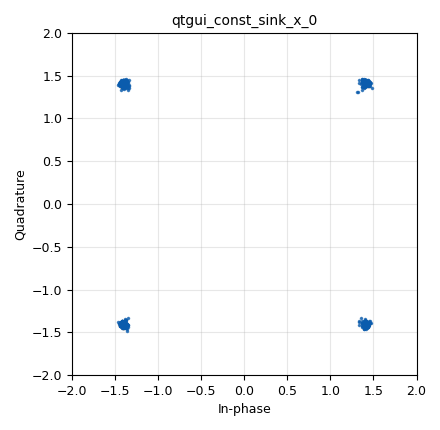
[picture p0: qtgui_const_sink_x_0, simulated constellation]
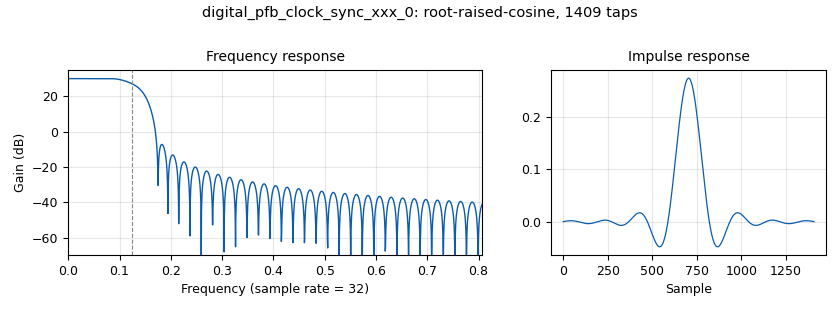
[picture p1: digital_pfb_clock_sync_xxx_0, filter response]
options:
  parameters:
    author: user
    generate_options: qt_gui
    id: mpsk_simulation
    output_language: python
    title: Not titled yet
  states: {}

blocks:
- name: arity
  id: variable
  parameters:
    value: '4'
  states: {}
- name: delay
  id: variable_qtgui_range
  parameters:
    gui_hint: 'delay_section@0: 0,0,1,1'
    label: Delay value
    rangeType: int
    start: '0'
    step: '1'
    stop: '500'
    value: '58'
  states: {}
- name: eq_gain
  id: variable_qtgui_range
  parameters:
    gui_hint: 'controls@1: 3,0,1,2'
    label: Equalizer rate
    start: '0.0'
    step: '0.001'
    stop: '0.1'
    value: '0.01'
  states: {}
- name: excess_bw
  id: variable
  parameters:
    value: '0.35'
  states: {}
- name: freq_offset
  id: variable_qtgui_range
  parameters:
    gui_hint: 'controls@1: 4,0,1,2'
    label: Frequency Offset
    start: '-0.1'
    step: '0.001'
    stop: '0.1'
    value: '0'
  states: {}
- name: nfilts
  id: variable
  parameters:
    value: '32'
  states: {}
- name: noise_volt
  id: variable_qtgui_range
  parameters:
    gui_hint: 'controls@0: 0,0,2,2'
    label: Noise Voltage
    start: '0'
    step: '0.1'
    stop: '1'
    value: '0'
  states: {}
- name: phase_bw
  id: variable_qtgui_range
  parameters:
    gui_hint: 'controls@1: 1,0,1,2'
    label: Phase  BW
    start: '0.0'
    step: '0.01'
    stop: '1.0'
    value: 6.28/100.0
  states: {}
- name: qpsk
  id: variable_constellation_rect
  parameters:
    const_points: '[0.707+0.707j, -0.707+0.707j, -0.707-0.707j, 0.707-0.707j]'
    imag_sect: '2'
    real_sect: '2'
    rot_sym: '4'
    sym_map: '[0, 1, 2, 3]'
    w_imag_sect: '1'
    w_real_sect: '1'
  states: {}
- name: restart
  id: variable_qtgui_toggle_switch
  parameters:
    gui_hint: 'measurement_control@0: 1,0,1,1'
    initPressed: 'False'
    label: Restart BER values
    position: '3'
    pressed: 'True'
    released: 'False'
    type: bool
    value: 'False'
  states: {}
- name: rrc_taps
  id: variable
  parameters:
    value: firdes.root_raised_cosine(nfilts, nfilts, 1.0/float(sps), 0.35, 11*sps*nfilts)
  states: {}
- name: samp_rate
  id: variable
  parameters:
    value: 1e6
  states: {}
- name: sps
  id: variable
  parameters:
    value: '4'
  states: {}
- name: switch
  id: variable_qtgui_toggle_switch
  parameters:
    gui_hint: 'measurement_control@0: 0,0,1,1'
    initPressed: 'False'
    label: BER block
    position: '3'
    pressed: 'True'
    released: 'False'
    type: bool
    value: 'False'
  states: {}
- name: taps
  id: variable
  parameters:
    value: '[1.0, 0.25-0.25j, 0.50 + 0.10j, -0.3 + 0.2j]'
  states: {}
- name: time_offset
  id: variable_qtgui_range
  parameters:
    gui_hint: 'controls@1: 5,0,1,2'
    label: Timing Offset
    start: '0.999'
    step: '0.0001'
    stop: '1.001'
    value: '1.00'
  states: {}
- name: timing_loop_bw
  id: variable_qtgui_range
  parameters:
    gui_hint: 'controls@1: 0,0,1,2'
    label: Time BW
    start: '0.0'
    step: '0.01'
    stop: '0.2'
    value: 6.28/100.0
  states: {}
- name: variable_adaptive_algorithm_0
  id: variable_adaptive_algorithm
  parameters:
    cons: qpsk
    modulus: '4'
    step_size: '100e-6'
    type: cma
  states: {}
- name: analog_random_source_x_0
  id: analog_random_source_x
  parameters:
    max: '256'
    min: '0'
    num_samps: '1000'
    repeat: 'True'
    type: byte
  states: {}
- name: blocks_char_to_float_0_0_0
  id: blocks_char_to_float
  parameters:
    scale: '1'
  states: {}
- name: blocks_char_to_float_0_0_0_0
  id: blocks_char_to_float
  parameters:
    scale: '1'
  states: {}
- name: blocks_delay_0
  id: blocks_delay
  parameters:
    delay: delay
    type: byte
  states: {}
- name: blocks_delay_0_0
  id: blocks_delay
  parameters:
    delay: int(delay)
    type: float
  states: {}
- name: blocks_sub_xx_0
  id: blocks_sub_xx
  parameters:
    type: float
  states: {}
- name: blocks_throttle2_0
  id: blocks_throttle2
  parameters:
    samples_per_second: samp_rate
    type: complex
  states: {}
- name: blocks_unpack_k_bits_bb_0
  id: blocks_unpack_k_bits_bb
  parameters:
    k: '2'
  states: {}
- name: blocks_unpack_k_bits_bb_1
  id: blocks_unpack_k_bits_bb
  parameters:
    k: '8'
  states: {}
- name: channels_channel_model_0
  id: channels_channel_model
  parameters:
    block_tags: 'True'
    epsilon: '1.0'
    freq_offset: '0.0'
    noise_voltage: noise_volt
    seed: '0'
    taps: 1.0 + 1.0j
  states: {}
- name: controls
  id: qtgui_tab_widget
  parameters:
    gui_hint: 0,0,1,1
    label0: Noise
    label1: Other
    num_tabs: '2'
  states: {}
- name: customModule_calc_0
  id: customModule_calc
  parameters:
    processing: switch
    restart: 'False'
  states: {}
- name: delay_section
  id: qtgui_tab_widget
  parameters:
    gui_hint: 0,2,1,1
    label0: Delay
    num_tabs: '1'
  states: {}
- name: digital_constellation_decoder_cb_0
  id: digital_constellation_decoder_cb
  parameters:
    constellation: qpsk
  states: {}
- name: digital_constellation_modulator_0
  id: digital_constellation_modulator
  parameters:
    constellation: qpsk
    differential: 'True'
    excess_bw: excess_bw
    samples_per_symbol: sps
  states: {}
- name: digital_costas_loop_cc_0
  id: digital_costas_loop_cc
  parameters:
    order: arity
    w: phase_bw
  states: {}
- name: digital_diff_decoder_bb_1
  id: digital_diff_decoder_bb
  parameters:
    coding: digital.DIFF_DIFFERENTIAL
    modulus: '4'
  states: {}
- name: digital_linear_equalizer_0
  id: digital_linear_equalizer
  parameters:
    alg: variable_adaptive_algorithm_0
    num_taps: '15'
    sps: '2'
  states: {}
- name: digital_map_bb_0
  id: digital_map_bb
  parameters:
    map: '[0,1,2,3]'
  states: {}
- name: digital_pfb_clock_sync_xxx_0
  id: digital_pfb_clock_sync_xxx
  parameters:
    filter_size: nfilts
    init_phase: nfilts/2
    loop_bw: timing_loop_bw
    max_dev: '1.5'
    osps: '2'
    sps: sps
    taps: rrc_taps
    type: ccf
  states: {}
- name: epy_block_0
  id: epy_block
  parameters:
    _source_code: |
      """
      Embedded Python Blocks:

      Each time this file is saved, GRC will instantiate the first class it finds
      to get ports and parameters of your block. The arguments to __init__  will
      be the parameters. All of them are required to have default values!
      """

      import numpy as np
      from gnuradio import gr
      import math


      class blk(gr.sync_block):  # other base classes are basic_block, decim_block, interp_block
          """Embedded Python Block - Absolute Errors BER and total bits"""

          def __init__(self, processing=False, restart=False):  # only default arguments here
              """arguments to this function show up as parameters in GRC"""
              gr.sync_block.__init__(
                  self,
                  name='Errors-BER-Bits',   # will show up in GRC
                  in_sig=[np.byte, np.byte],
                  out_sig=[np.float32, np.float32, np.float32]
              )
              # if an attribute with the same name as a parameter is found,
              # a callback is registered (properties work, too).
              self.errors = 0
              self.total = 0
              self.processing = processing
              self.restart = restart

          def work(self, input_items, output_items):
              my_ber = 0
              if self.restart:
                  self.errors = 0
                  self.total = 0
              if self.processing:
                  in0, in1 = input_items[0], input_items[1]
                  length = min(len(in0), len(in1))
                  
                  if np.sum(np.logical_xor(in0[:length], in1[:length])) < length:
                      self.errors += np.sum(np.logical_xor(in0[:length], in1[:length]))
                      self.total += length
                  #else:
                     #  self.processing = False
                       #print(np.sum(np.logical_xor(in0[:length], in1[:length])))
                       #print("Desynch")

                  # old way of doing BER, doesn't work with different sized ararys
                  """for i in range(0, len(input_items[0])):
                      xor = input_items[0][i] ^ input_items[1][i]
                      ones += bin(xor).replace("0b", "").count('1')

                  self.errors += ones
                  self.total += len(input_items[0])*8
                  """
                  if self.errors != 0:
                      my_ber = math.log(self.errors / self.total, 10)

              output_items[0][:] = self.errors
              output_items[1][:] = my_ber
              output_items[2][:] = self.total
              return len(output_items[0])
    processing: switch
    restart: restart
  states: {}
- name: measurement_control
  id: qtgui_tab_widget
  parameters:
    gui_hint: 1,2,1,1
    label0: BER
    num_tabs: '1'
  states: {}
- name: qtgui_const_sink_x_0
  id: qtgui_const_sink_x
  parameters:
    axislabels: 'False'
    gui_hint: 1,0,1,1
    legend: 'False'
    size: '1024'
    type: complex
  states: {}
- name: qtgui_number_sink_0_0
  id: qtgui_number_sink
  parameters:
    color2: ("blue", "red")
    color3: ("black", "white")
    graph_type: qtgui.NUM_GRAPH_NONE
    gui_hint: 'measurement_control@0: 2,0,1,1'
    label1: Absolute Errors
    label2: My BER
    label3: Total Bits
    min: '0'
    name: '"PYTHON"'
    nconnections: '3'
    type: float
    unit1: errors
    unit2: = X
    unit3: bits
  states: {}
- name: qtgui_number_sink_0_0_0
  id: qtgui_number_sink
  parameters:
    color2: ("blue", "red")
    color3: ("black", "white")
    graph_type: qtgui.NUM_GRAPH_NONE
    gui_hint: 'measurement_control@0: 3,0,1,1'
    label1: Absolute Errors
    label2: My BER
    label3: Total Bits
    min: '0'
    name: '"C++"'
    nconnections: '3'
    type: float
    unit1: errors
    unit2: = X
    unit3: bits
  states: {}
- name: qtgui_time_sink_x_1
  id: qtgui_time_sink_x
  parameters:
    gui_hint: 'delay_section@0: 1,0,1,1'
    legend: 'False'
    name: '"After subtraction"'
    size: '1024'
    srate: samp_rate
    type: float
  states: {}

connections:
- [analog_random_source_x_0, '0', blocks_unpack_k_bits_bb_1, '0']
- [analog_random_source_x_0, '0', digital_constellation_modulator_0, '0']
- [blocks_char_to_float_0_0_0, '0', blocks_sub_xx_0, '0']
- [blocks_char_to_float_0_0_0_0, '0', blocks_delay_0_0, '0']
- [blocks_delay_0, '0', customModule_calc_0, '1']
- [blocks_delay_0, '0', epy_block_0, '1']
- [blocks_delay_0_0, '0', blocks_sub_xx_0, '1']
- [blocks_sub_xx_0, '0', qtgui_time_sink_x_1, '0']
- [blocks_throttle2_0, '0', channels_channel_model_0, '0']
- [blocks_unpack_k_bits_bb_0, '0', blocks_char_to_float_0_0_0, '0']
- [blocks_unpack_k_bits_bb_0, '0', customModule_calc_0, '0']
- [blocks_unpack_k_bits_bb_0, '0', epy_block_0, '0']
- [blocks_unpack_k_bits_bb_1, '0', blocks_char_to_float_0_0_0_0, '0']
- [blocks_unpack_k_bits_bb_1, '0', blocks_delay_0, '0']
- [channels_channel_model_0, '0', digital_pfb_clock_sync_xxx_0, '0']
- [customModule_calc_0, '0', qtgui_number_sink_0_0_0, '0']
- [customModule_calc_0, '1', qtgui_number_sink_0_0_0, '1']
- [customModule_calc_0, '2', qtgui_number_sink_0_0_0, '2']
- [digital_constellation_decoder_cb_0, '0', digital_diff_decoder_bb_1, '0']
- [digital_constellation_modulator_0, '0', blocks_throttle2_0, '0']
- [digital_costas_loop_cc_0, '0', digital_constellation_decoder_cb_0, '0']
- [digital_costas_loop_cc_0, '0', qtgui_const_sink_x_0, '0']
- [digital_diff_decoder_bb_1, '0', digital_map_bb_0, '0']
- [digital_linear_equalizer_0, '0', digital_costas_loop_cc_0, '0']
- [digital_map_bb_0, '0', blocks_unpack_k_bits_bb_0, '0']
- [digital_pfb_clock_sync_xxx_0, '0', digital_linear_equalizer_0, '0']
- [epy_block_0, '0', qtgui_number_sink_0_0, '0']
- [epy_block_0, '1', qtgui_number_sink_0_0, '1']
- [epy_block_0, '2', qtgui_number_sink_0_0, '2']

metadata:
  file_format: 1
  grc_version: 3.10.7.0
